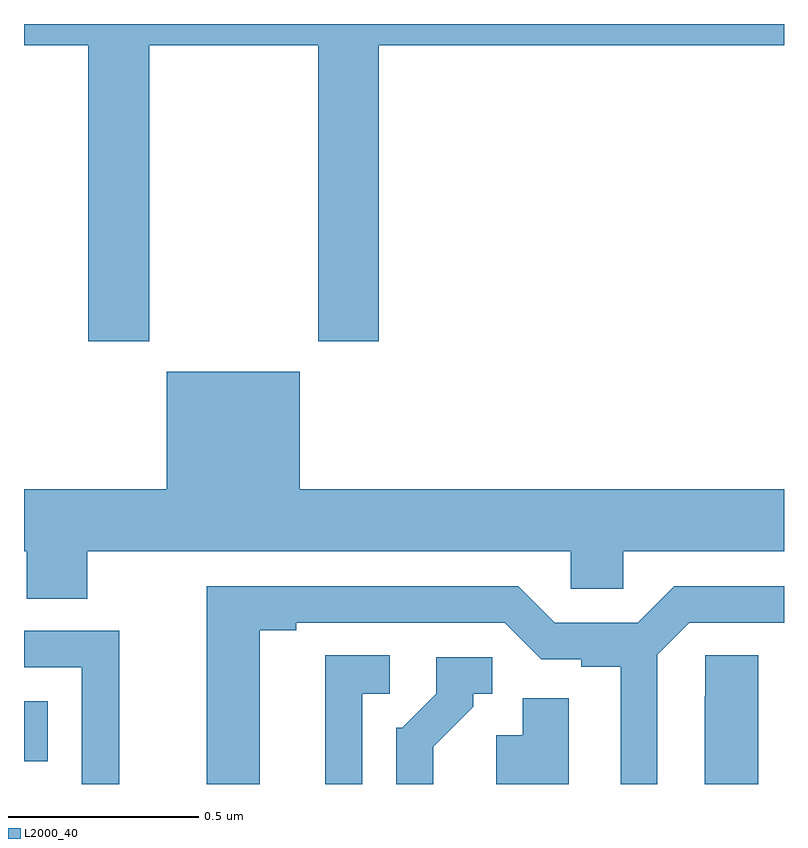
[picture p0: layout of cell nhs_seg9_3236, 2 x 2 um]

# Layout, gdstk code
import gdstk
lib = gdstk.Library(unit=1e-6, precision=1e-09)
def R(c, l, rs):  # rectangles x0, y0, x1, y1
    for r in rs: c.add(gdstk.rectangle(r[:2], r[2:], *l))
def P(c, l, *ps):  # polygons
    for p in ps: c.add(gdstk.Polygon(p, *l))
L2000_40 = (2000, 40)

nhs_seg9_3236 = lib.new_cell('nhs_seg9_3236')
R(nhs_seg9_3236, L2000_40, [(151,1170.56,151.063,1170.718)])
P(nhs_seg9_3236, L2000_40, [(151.329,1172.444),(151.774,1172.444),(151.774,1171.665),(151.934,1171.665),(151.934,1172.444),(153,1172.444),(153,1172.5),(151,1172.5),(151,1172.444),(151.169,1172.444),(151.169,1171.665),(151.329,1171.665)],
  [(151.167,1171.112),(152.439,1171.112),(152.439,1171.014),(152.577,1171.014),(152.577,1171.112),(153,1171.112),(153,1171.276),(151.726,1171.276),(151.726,1171.585),(151.376,1171.585),(151.376,1171.276),(151,1171.276),(151,1171.112),(151.007,1171.112),(151.007,1170.988),(151.167,1170.988)],
  [(151.621,1170.904),(151.717,1170.904),(151.717,1170.924),(152.265,1170.924),(152.361,1170.828),(152.466,1170.828),(152.466,1170.808),(152.57,1170.808),(152.57,1170.5),(152.667,1170.5),(152.667,1170.84),(152.751,1170.924),(153,1170.924),(153,1171.02),(152.711,1171.02),(152.615,1170.924),(152.397,1170.924),(152.301,1171.02),(151.481,1171.02),(151.481,1170.5),(151.621,1170.5)],
  [(151.251,1170.903),(151,1170.903),(151,1170.807),(151.152,1170.807),(151.152,1170.5),(151.251,1170.5)],
  [(152.932,1170.839),(152.793,1170.839),(152.793,1170.731),(152.792,1170.731),(152.792,1170.5),(152.932,1170.5)],
  [(151.89,1170.738),(151.963,1170.738),(151.963,1170.839),(151.793,1170.839),(151.793,1170.5),(151.89,1170.5)],
  [(152.077,1170.598),(152.182,1170.703),(152.182,1170.738),(152.232,1170.738),(152.232,1170.834),(152.085,1170.834),(152.085,1170.738),(151.995,1170.648),(151.98,1170.648),(151.98,1170.5),(152.077,1170.5)],
  [(152.434,1170.726),(152.312,1170.726),(152.312,1170.628),(152.243,1170.628),(152.243,1170.5),(152.434,1170.5)])

lib.write_gds('nhs_seg9_3236.gds')
